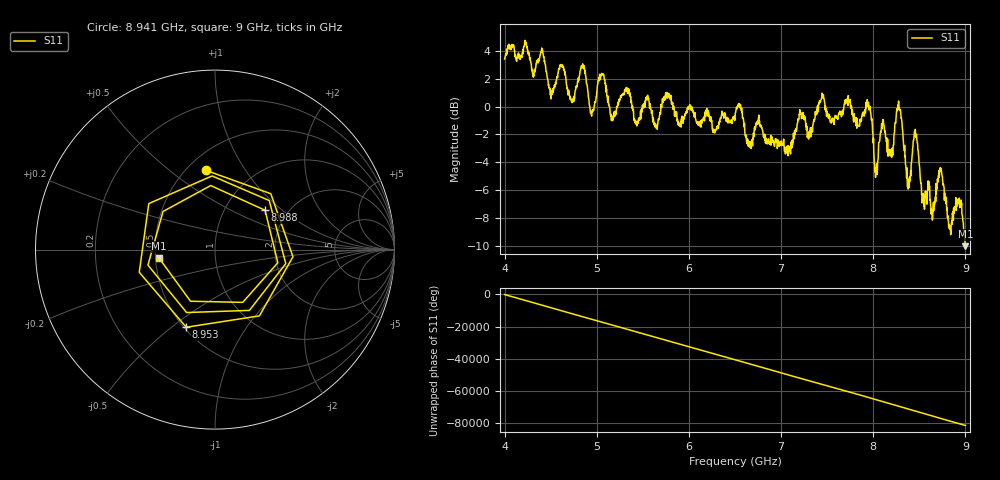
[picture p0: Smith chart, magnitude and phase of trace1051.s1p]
! Created with skrf 1.8.0 (http://scikit-rf.org).
# Hz S RI R 50.0
!freq ReS11 ImS11
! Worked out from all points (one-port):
!   1601 points, 4 GHz to 9 GHz, reference 50 ohm
!   lowest |S11| = -10.0 dB at 9 GHz (marker M1), VSWR 1.92, Z = 26.2 - j2.79 ohm
!   |S11| at or under -10 dB: 8.998762 GHz to end of sweep
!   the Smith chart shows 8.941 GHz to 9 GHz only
!   S11 on the Smith chart (normalised r, x): 8.941 GHz: 0.62, +0.68; 8.953 GHz: 0.51, -0.56; 8.988 GHz: 1.54, +0.77; 9 GHz: 0.52, -0.06
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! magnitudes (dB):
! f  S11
! 4 GHz  3.4
! 4.409 GHz  4.1
! 4.509 GHz  0.9
! 4.625 GHz  3.0
! 4.728 GHz  0.3
! 4.844 GHz  2.8
! 4.944 GHz  -0.7
! 5.05 GHz  2.3
! 5.162 GHz  -0.7
! 5.25 GHz  0.5
! 5.875 GHz  -0.9
! 6.5 GHz  -0.9
! 7.125 GHz  -2.7
! 7.441 GHz  0.7
! 7.75 GHz  0.5
! 7.947 GHz  0.3
! 8.031 GHz  -4.6
! 8.278 GHz  -0.1
! 8.375 GHz  -5.5
! 8.456 GHz  -1.6
! 8.55 GHz  -7.2
! 8.653 GHz  -6.9
! 8.728 GHz  -4.4
! 8.831 GHz  -8.6
! 8.941 GHz  -7.0
! 8.953 GHz  -6.7
! 8.988 GHz  -9.0
! 9 GHz  -10.0
